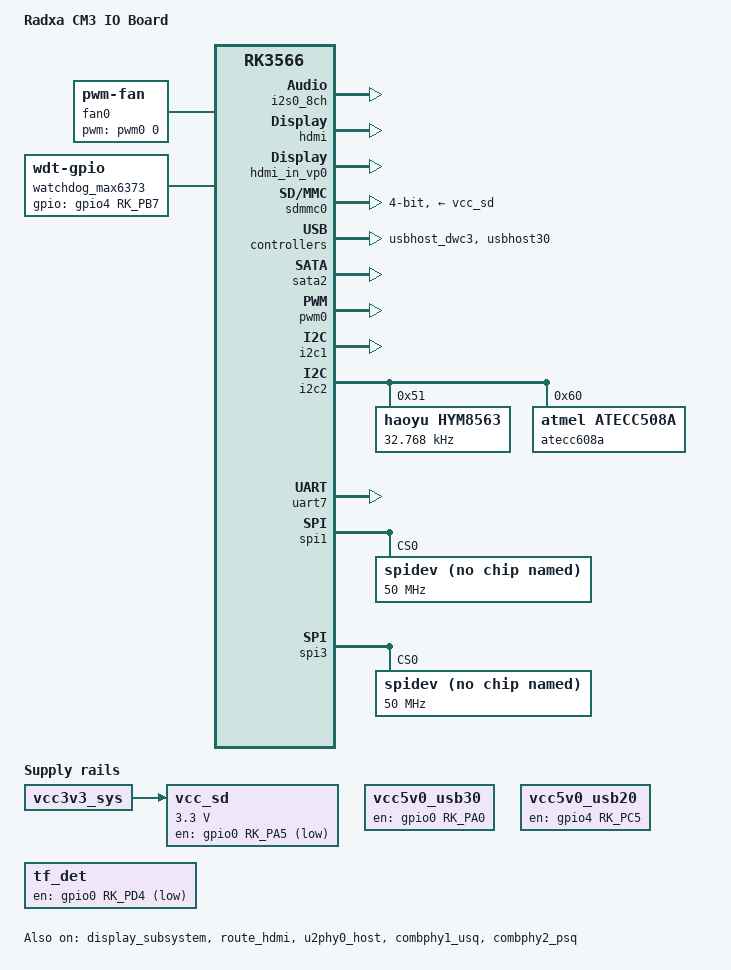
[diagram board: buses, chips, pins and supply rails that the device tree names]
// SPDX-License-Identifier: (GPL-2.0+ OR MIT)
/*
 * Copyright (c) 2024 Rockchip Electronics Co., Ltd.
 * Copyright (c) 2025 Radxa Computer (Shenzhen) Co., Ltd.
 *
 */

/dts-v1/;

#include "rk3566-radxa-cm3.dtsi"

/ {
	model = "Radxa CM3 IO Board";
	compatible = "radxa,cm3-io", "radxa,cm3", "rockchip,rk3566";

	hdmi_sound: hdmi-sound {
		status = "okay";
		compatible = "rockchip,hdmi";
		rockchip,mclk-fs = <128>;
		rockchip,card-name = "rockchip-hdmi";
		rockchip,cpu = <&i2s0_8ch>;
		rockchip,codec = <&hdmi>;
		rockchip,jack-det;
	};

	vcc5v0_usb30: vcc5v0-usb30-regulator {
		compatible = "regulator-fixed";
		enable-active-high;
		gpio = <&gpio0 RK_PA0 GPIO_ACTIVE_HIGH>;
		pinctrl-names = "default";
		pinctrl-0 = <&vcc5v0_usb30_en>;
		regulator-name = "vcc5v0_usb30";
		regulator-always-on;
		regulator-boot-on;
	};

	vcc5v0_usb20: vcc5v0-usb20-regulator {
		compatible = "regulator-fixed";
		enable-active-high;
		gpio = <&gpio4 RK_PC5 GPIO_ACTIVE_HIGH>;
		pinctrl-names = "default";
		pinctrl-0 = <&vcc5v0_usb20_en>;
		regulator-name = "vcc5v0_usb20";
		regulator-always-on;
		regulator-boot-on;
	};

	#if 1
	vcc_sd: sdmmc-regulator {
		compatible = "regulator-fixed";
		gpio = <&gpio0 RK_PA5 GPIO_ACTIVE_LOW>;
		pinctrl-names = "default";
		pinctrl-0 = <&sdmmc_pwren>;
		regulator-name = "vcc_sd";
		regulator-min-microvolt = <3300000>;
		regulator-max-microvolt = <3300000>;
		startup-delay-us = <100000>;
		vin-supply = <&vcc3v3_sys>;
	};

	tf_det: tf-det-regulator {
		compatible = "regulator-fixed";
		enable-active-low;
		gpio = <&gpio0 RK_PD4 GPIO_ACTIVE_LOW>;
		pinctrl-names = "default";
		pinctrl-0 = <&tf_det_en>;
		regulator-name = "tf_det";
		regulator-always-on;
		regulator-boot-on;
	};
	#endif

	#if 1
	fan0: pwm-fan {
		compatible = "pwm-fan";
		#cooling-cells = <2>;
		cooling-levels = <0 64 128 192 255>;
		pwms = <&pwm0 0 10000 0>;
	};
	#endif

	watchdog_max6373: watchdog {
        compatible = "linux,wdt-gpio";
        gpios = <&gpio4 RK_PB7 GPIO_ACTIVE_HIGH>;
        hw_algo = "toggle";
        hw_margin_ms = <800>;
        always-running;
        status = "okay";
    };
};

&i2s0_8ch {
	status = "okay";
};

&i2s1_8ch {
	rockchip,trcm-sync-tx-only;
	pinctrl-0 = <&i2s1m0_sclktx
		     &i2s1m0_lrcktx
		     &i2s1m0_sdi0
		     &i2s1m0_sdo0>;
	status = "disabled";
};

&display_subsystem {
    status = "okay";
};

&hdmi {
	status = "okay";
	preset_max_hdisplay = <1920>;
	preset_max_vdisplay = <1080>;
	preset_as_preferred;
};

&hdmi_in_vp0 {
	status = "okay";
};

&hdmi_in_vp1 {
	status = "disabled";
};

&hdmi_sound {
	status = "okay";
};

&route_hdmi {
	status = "okay";
	connect = <&vp0_out_hdmi>;
};

&sdmmc0 {
	max-frequency = <150000000>;
	supports-sd;
	bus-width = <4>;
	cap-mmc-highspeed;
	cap-sd-highspeed;
	disable-wp;
	sd-uhs-sdr104;
	vmmc-supply = <&vcc_sd>;
	vqmmc-supply = <&vccio_sd>;
	pinctrl-names = "default";
	pinctrl-0 = <&sdmmc0_bus4 &sdmmc0_clk &sdmmc0_cmd &sdmmc0_det>;
	status = "okay";
};

&sdmmc1 {
	status = "disabled";
};

&sdio_pwrseq {
	status = "disabled";
};

&uart1 {
	status = "disabled";

	bluetooth {
        status = "disabled";
    };
};

&u2phy0_host {
	status = "okay";
};

&usbhost_dwc3 {
	status = "okay";
};

&usbhost30 {
	status = "okay";
};

&combphy1_usq {
	status = "okay";
};

&combphy2_psq {
	status = "okay";
};

&pcie2x1 {
	status = "disabled";
	reset-gpios = <&gpio1 RK_PB2 GPIO_ACTIVE_HIGH>;
	vpcie3v3-supply = <&vcc3v3_sys>;
	pinctrl-0 = <&pcie20m2_pins>;
};

&sata2 {
	status = "okay";
};

&pwm0 {
	pinctrl-0 = <&pwm0m1_pins>;
	status = "okay";
};

&i2c1{
	status = "okay";
};

&i2c2 {
	status = "okay";
	pinctrl-names = "default";
	pinctrl-0 = <&i2c2m1_xfer>;

	hym8563: hym8563@51 {
		compatible = "haoyu,hym8563";
		status = "okay";
		reg = <0x51>;
		#clock-cells = <0>;
		clock-frequency = <32768>;
		clock-output-names = "hym8563";
	};

	atecc608a@60 {
        compatible = "atmel,atecc508a";
        reg = <0x60>;
        status = "okay";
    };
};

&uart7 {
	status = "okay";
	pinctrl-names = "default";
	pinctrl-0 = <&uart7m2_xfer>;
};

&spi1 {
	status = "okay";
	#address-cells = <1>;
	#size-cells = <0>;
	pinctrl-names = "default", "high_speed";
	pinctrl-0 = <&spi1m1_cs0 &spi1m1_pins>;
	pinctrl-1 = <&spi1m1_cs0 &spi1m1_pins_hs>;
	max-freq = <50000000>;

	spidev@0 {
		compatible = "rockchip,spidev";
		status = "okay";
		reg = <0>;
		spi-max-frequency = <50000000>;
	};
};

&spi3 {
	status = "okay";
	#address-cells = <1>;
	#size-cells = <0>;
	pinctrl-names = "default", "high_speed";
	pinctrl-0 = <&spi3m0_cs0 &spi3m0_pins>;
	pinctrl-1 = <&spi3m0_cs0 &spi3m0_pins_hs>;
	max-freq = <50000000>;

	spidev@0 {
		compatible = "rockchip,spidev";
		status = "okay";
		reg = <0>;
		spi-max-frequency = <50000000>;
	};
};

&rk817 {
	rtc {
		status = "disabled";
	};
};

&soc_thermal {
	sustainable-power = <5000>; /* milliwatts */
	cooling-maps {
		map2 {
			trip = <&target>;
			cooling-device =
				<&fan0 THERMAL_NO_LIMIT THERMAL_NO_LIMIT>;
			contribution = <8192>;
		};
		map3 {
			trip = <&threshold>;
			cooling-device =
				<&fan0 THERMAL_NO_LIMIT THERMAL_NO_LIMIT>;
			contribution = <8192>;
		};
	};
};

&threshold {
	temperature = <60000>;
};

&pinctrl {
	usb {
		vcc5v0_usb30_en: vcc5v0-host-en {
			rockchip,pins = <0 RK_PA0 RK_FUNC_GPIO &pcfg_pull_none>;
		};

		vcc5v0_usb20_en: vcc5v0-usb20host-en {
			rockchip,pins = <4 RK_PC5 RK_FUNC_GPIO &pcfg_pull_none>;
		};
	};

	sdcard {
		#if 1
		sdmmc_pwren: sdmmc-pwren {
			rockchip,pins = <0 RK_PA5 RK_FUNC_GPIO &pcfg_pull_none>;
		};

		tf_det_en: tf-det-en {
			rockchip,pins = <0 RK_PD4 RK_FUNC_GPIO &pcfg_output_low>;
		};
		#endif
	};

	gmac1 {
		gmac1m0_miim: gmac1m0-miim {
			rockchip,pins =
				/* gmac1_mdcm0 */
				<3 RK_PC4 3 &pcfg_pull_none_drv_level_15>,
				/* gmac1_mdiom0 */
				<3 RK_PC5 3 &pcfg_pull_none_drv_level_15>;
		};

		gmac1m0_rx_bus2: gmac1m0-rx-bus2 {
			rockchip,pins =
				/* gmac1_rxd0m0 */
				<3 RK_PB1 3 &pcfg_pull_none_drv_level_15>,
				/* gmac1_rxd1m0 */
				<3 RK_PB2 3 &pcfg_pull_none_drv_level_15>,
				/* gmac1_rxdvcrsm0 */
				<3 RK_PB3 3 &pcfg_pull_none_drv_level_15>;
		};

		gmac1m0_tx_bus2: gmac1m0-tx-bus2 {
			rockchip,pins =
				/* gmac1_txd0m0 */
				<3 RK_PB5 3 &pcfg_pull_none_drv_level_15>,
				/* gmac1_txd1m0 */
				<3 RK_PB6 3 &pcfg_pull_none_drv_level_15>,
				/* gmac1_txenm0 */
				<3 RK_PB7 3 &pcfg_pull_none_drv_level_15>;
		};

		gmac1m0_rgmii_clk: gmac1m0-rgmii-clk {
			rockchip,pins =
				/* gmac1_rxclkm0 */
				<3 RK_PA7 3 &pcfg_pull_none_drv_level_15>,
				/* gmac1_txclkm0 */
				<3 RK_PA6 3 &pcfg_pull_none_drv_level_15>;
		};

		gmac1m0_rgmii_bus: gmac1m0-rgmii-bus {
			rockchip,pins =
				/* gmac1_rxd2m0 */
				<3 RK_PA4 3 &pcfg_pull_none_drv_level_15>,
				/* gmac1_rxd3m0 */
				<3 RK_PA5 3 &pcfg_pull_none_drv_level_15>,
				/* gmac1_txd2m0 */
				<3 RK_PA2 3 &pcfg_pull_none_drv_level_15>,
				/* gmac1_txd3m0 */
				<3 RK_PA3 3 &pcfg_pull_none_drv_level_15>;
		};

		gmac1m0_clkinout: gmac1m0-clkinout {
			rockchip,pins =
				/* gmac1_mclkinoutm0 */
				<3 RK_PC0 3 &pcfg_pull_none_drv_level_15>;
		};
	};
};

&gpio0 {
	gpio-line-names =
		/* GPIO0_A0-A3 */
		"", "", "", "",
		/* GPIO0_A4-A7 */
		"", "", "", "",

		/* GPIO0_B0-B3 */
		"", "", "", "",
		/* GPIO0_B4-B7 */
		"", "PIN_5", "PIN_3", "PIN_13",

		/* GPIO0_C0-C3 */
		"", "", "PIN_37", "PIN_15",
		/* GPIO0_C4-C7 */
		"", "PIN_31", "PIN_33", "PIN_11",

		/* GPIO0_D0-D3 */
		"PIN_10", "PIN_8", "", "",
		/* GPIO0_D4-D7 */
		"", "", "", "";
};

&gpio1 {
	gpio-line-names =
		/* GPIO1_A0-A3 */
		"", "", "", "",
		/* GPIO1_A4-A7 */
		"", "", "", "",

		/* GPIO1_B0-B3 */
		"", "", "", "",
		/* GPIO1_B4-B7 */
		"", "", "", "",

		/* GPIO1_C0-C3 */
		"", "", "", "",
		/* GPIO1_C4-C7 */
		"", "", "", "",

		/* GPIO1_D0-D3 */
		"", "", "", "",
		/* GPIO1_D4-D7 */
		"", "", "", "";
};

&gpio2 {
	gpio-line-names =
		/* GPIO2_A0-A3 */
		"", "", "", "",
		/* GPIO2_A4-A7 */
		"", "", "", "",

		/* GPIO2_B0-B3 */
		"", "", "", "",
		/* GPIO2_B4-B7 */
		"", "", "", "",

		/* GPIO2_C0-C3 */
		"", "", "", "",
		/* GPIO2_C4-C7 */
		"", "", "", "",

		/* GPIO2_D0-D3 */
		"", "", "", "",
		/* GPIO2_D4-D7 */
		"", "", "", "";
};

&gpio3 {
	gpio-line-names =
		/* GPIO3_A0-A3 */
		"", "", "", "",
		/* GPIO3_A4-A7 */
		"", "", "", "",

		/* GPIO3_B0-B3 */
		"", "", "", "",
		/* GPIO3_B4-B7 */
		"", "", "", "",

		/* GPIO3_C0-C3 */
		"", "", "", "",
		/* GPIO3_C4-C7 */
		"", "", "PIN_22", "PIN_12",

		/* GPIO3_D0-D3 */
		"PIN_35", "PIN_40", "PIN_38", "PIN_18",
		/* GPIO3_D4-D7 */
		"PIN_16", "PIN_7", "", "";
};

&gpio4 {
	gpio-line-names =
		/* GPIO4_A0-A3 */
		"", "", "", "",
		/* GPIO4_A4-A7 */
		"", "", "PIN_24", "PIN_36",

		/* GPIO4_B0-B3 */
		"PIN_21", "PIN_29", "PIN_19", "PIN_23",
		/* GPIO4_B4-B7 */
		"PIN_27", "PIN_28", "", "",

		/* GPIO4_C0-C3 */
		"PIN_32", "", "", "",
		/* GPIO4_C4-C7 */
		"", "", "", "",

		/* GPIO4_D0-D3 */
		"", "", "", "",
		/* GPIO4_D4-D7 */
		"", "", "", "";
};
